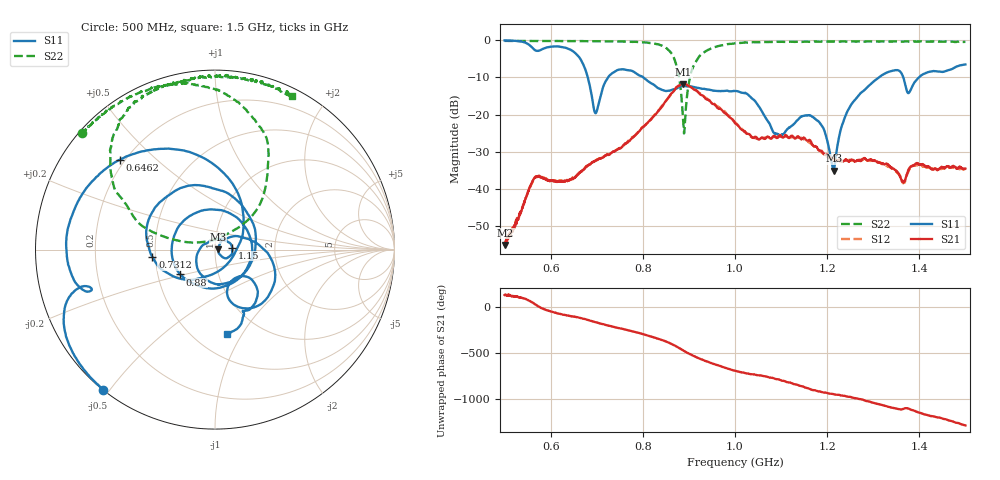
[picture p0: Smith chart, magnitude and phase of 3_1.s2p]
!Agilent Technologies,E8364B,US42250235,A.06.04.32
!Agilent E8364B: A.06.04.32
!Date: Friday, January 15, 2021 11:45:59
!Correction: S11(Full 2 Port(1,2)) S21(Full 2 Port(1,2)) S12(Full 2 Port(1,2)) S22(Full 2 Port(1,2))
!S2P File: Measurements: S11, S21, S12, S22:
# Hz S  dB  R 50
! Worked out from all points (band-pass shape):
!   1601 points, 500 MHz to 1.5 GHz, reference 50 ohm
!   highest |S21| = -11.82 dB at 887.5 MHz (marker M1); lowest = -55.2 dB at 501.2 MHz (marker M2)
!   |S21| within 3 dB of the highest: 858.7 MHz to 929.5 MHz (70.74 MHz wide, 7.91 % of centre)
!   lowest |S11| = -35.2 dB at 1.214 GHz (marker M3), VSWR 1.04, Z = 51.8 + j0.133 ohm
!   |S11| at or under -10 dB: 680.6 MHz to 724.3 MHz (43.76 MHz wide, 6.23 % of centre); 801.1 MHz to 1.312 GHz (511.3 MHz wide, 48.4 % of centre); 1.365 GHz to 1.399 GHz (33.81 MHz wide, 2.45 % of centre)
!   |S22| runs from -25.1 to -0.1 dB; largest |S21 - S12| = 0.0075
!   S11 on the Smith chart (normalised r, x): 500 MHz: 0.00, -0.48; 646.2 MHz: 0.18, +0.39; 731.2 MHz: 0.48, -0.05; 880 MHz: 0.65, -0.19; 1.15 GHz: 1.21, +0.03; 1.5 GHz: 0.71, -0.86
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5e8  -0.02 -128.6  -55.17 129.8  -55.51 123.8  -0.15 138.7
5.0125e8  -0.02 -129.1  -55.19 133.3  -55.20 129.0  -0.14 138.7
5.66875e8  -2.70 -163.6  -36.88 25.6  -36.86 27.9  -0.17 132.8
6.15e8  -1.63 173.3  -38.05 -69.6  -38.04 -68.8  -0.17 128.3
6.4625e8  -2.75 136.5  -37.33 -103.1  -37.30 -103.2  -0.20 124.7
6.66875e8  -5.52 99.6  -35.33 -124.5  -35.32 -124.2  -0.19 122.3
6.975e8  -19.64 -39.7  -32.50 -167.6  -32.37 -166.5  -0.21 119.2
7.3125e8  -9.10 -173.1  -30.36 149.3  -30.32 149.2  -0.25 114.8
7.80625e8  -8.48 107.3  -25.96 89.5  -25.88 89.2  -0.40 105.6
8.3375e8  -12.91 4.7  -19.04 11.9  -18.89 11.9  -1.07 87.9
8.8e8  -12.48 -144.4  -12.13 -92.4  -12.07 -92.3  -11.10 42.3
8.875e8  -12.32 -168.4  -11.82 -114.7  -11.80 -114.0  -22.07 64.7
9.2125e8  -12.85 104.2  -14.18 159.5  -14.07 160.6  -4.52 151.2
1e9  -13.64 -43.4  -22.34 23.4  -22.04 22.8  -0.79 122.7
1.090625e9  -25.16 125.1  -26.34 -68.1  -25.96 -68.2  -0.40 107.3
1.15e9  -20.32 6.3  -26.22 -153.8  -26.69 -156.3  -0.37 100.0
1.166875e9  -20.51 -18.7  -27.83 175.0  -28.04 177.8  -0.39 98.7
1.214375e9  -35.17 4.2  -31.70 128.0  -32.20 129.8  -0.30 94.3
1.24875e9  -18.04 36.2  -32.56 100.0  -32.27 98.6  -0.31 90.1
1.33375e9  -8.47 -27.9  -33.68 -10.3  -34.10 -9.2  -0.32 82.1
1.376875e9  -14.20 -53.7  -34.86 -29.6  -35.11 -29.4  -0.30 77.9
1.5e9  -6.50 -82.0  -34.60 147.5  -35.23 143.6  -0.39 63.5
